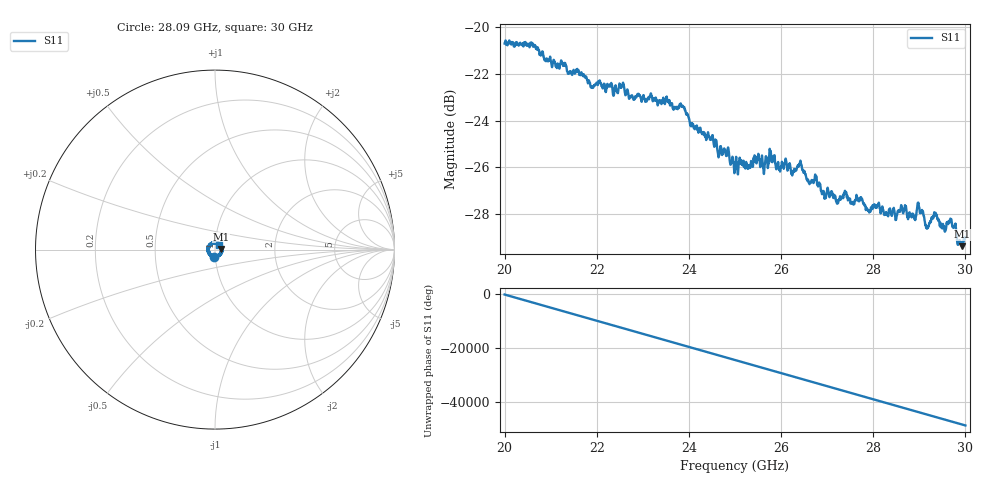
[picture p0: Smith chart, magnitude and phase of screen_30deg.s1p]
#  HZ  S  RI  R  50.00
! Rohde & Schwarz ZVA40 4Ports - Version 3.90 - 1145.1110k42 SN: 100403
! Date: 2023-09-30 07:38:54
! Measurement: S12
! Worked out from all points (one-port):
!   5001 points, 20 GHz to 30 GHz, reference 50 ohm
!   lowest |S11| = -29.4 dB at 29.93 GHz (marker M1), VSWR 1.07, Z = 53.5 + j0.45 ohm
!   |S11| at or under -10 dB: start of sweep to end of sweep
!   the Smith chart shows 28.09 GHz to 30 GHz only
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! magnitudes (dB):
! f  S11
! 20 GHz  -20.7
! 20.6 GHz  -20.8
! 20.9 GHz  -21.4
! 21.25 GHz  -21.5
! 21.9 GHz  -22.6
! 22.5 GHz  -22.5
! 22.75 GHz  -23.0
! 23.75 GHz  -23.5
! 23.86 GHz  -23.4
! 24.07 GHz  -24.2
! 25 GHz  -26.0
! 25.47 GHz  -25.8
! 25.59 GHz  -25.6
! 25.79 GHz  -25.8
! 25.93 GHz  -25.8
! 26.25 GHz  -26.2
! 26.41 GHz  -25.8
! 26.59 GHz  -26.6
! 26.93 GHz  -27.0
! 27.5 GHz  -27.4
! 28.75 GHz  -28.2
! 29.01 GHz  -27.8
! 29.17 GHz  -28.6
! 29.33 GHz  -28.0
! 29.53 GHz  -28.5
! 29.66 GHz  -28.3
! 29.93 GHz  -29.4
! 30 GHz  -29.0
